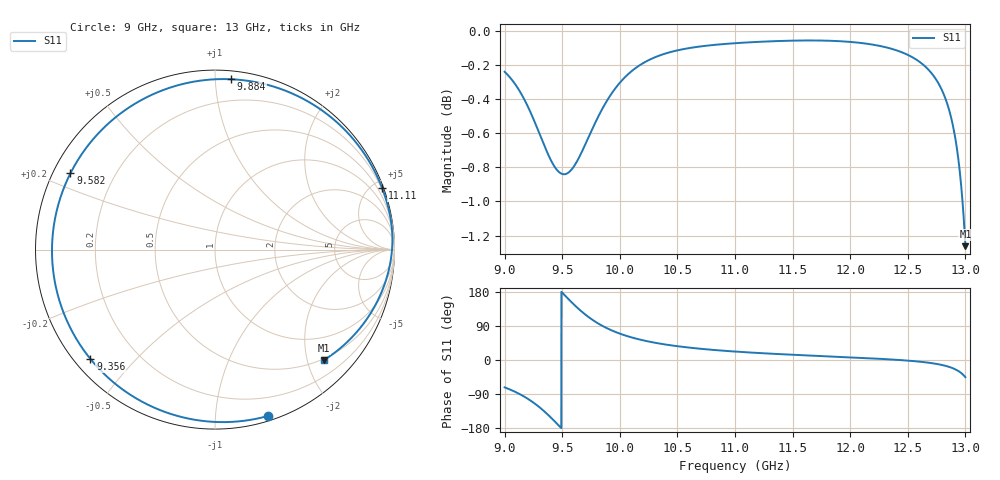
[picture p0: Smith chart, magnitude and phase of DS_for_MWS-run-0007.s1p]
! TOUCHSTONE file generated by CST DESIGN STUDIO
! Date and time: Tue Feb  4 16:46:00 2025
! Project name: C:\Work\MatlabApps\UnitCellOptimizationMatlab\CST\unitcell.cst
! Tree item: Tasks\Sweep1\SPara1\S-Parameters
! Header version: 2024
! Port assignment regex: !\s*Touchstone port\s*([0-9]+)\s*=\s*(CST MWS port|CST DES external port|CST DES block port)\s*(.+)\s* \(\"(.*)\"\)(\s*mode\s*([0-9]+))?.*
! Touchstone port assignment:
! Touchstone port 1 = CST DES external port 1 ("")
# GHz S MA R 50
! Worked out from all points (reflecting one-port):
!   4001 points, 9 GHz to 13 GHz, reference 50 ohm
!   lowest |S11| = -1.3 dB at 13 GHz (marker M1), VSWR 13.79, Z = 23.6 - j115 ohm
!   phase of S11 starts at -72 deg and turns -333 deg over the sweep
!   S11 on the Smith chart (normalised r, x): 9 GHz: 0.04, -1.37; 9.356 GHz: 0.05, -0.38; 9.582 GHz: 0.05, +0.25; 9.884 GHz: 0.05, +1.10; 11.11 GHz: 0.13, +5.62; 13 GHz: 0.47, -2.31
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9  0.9728 -72.2
9.096  0.9643 -84.6
9.206  0.9496 -103.3
9.283  0.9366 -119.9
9.356  0.9236 -138.7
9.432  0.9126 -161.0
9.5  0.908 177.7
9.54  0.9082 165.1
9.582  0.9107 152.2
9.651  0.9188 132.5
9.72  0.9294 115.3
9.795  0.9412 99.6
9.884  0.9535 84.6
10  0.9657 69.6
10.102  0.9732 59.6
10.216  0.9791 51.0
10.347  0.9837 43.3
10.5  0.987 36.4
10.721  0.9898 29.0
11  0.9918 22.3
11.109  0.9923 20.2
11.5  0.9935 13.8
12  0.9927 7.0
12.5  0.984 -1.6
12.708  0.9717 -8.3
12.852  0.9498 -17.5
12.934  0.9198 -28.1
13  0.8648 -45.4
